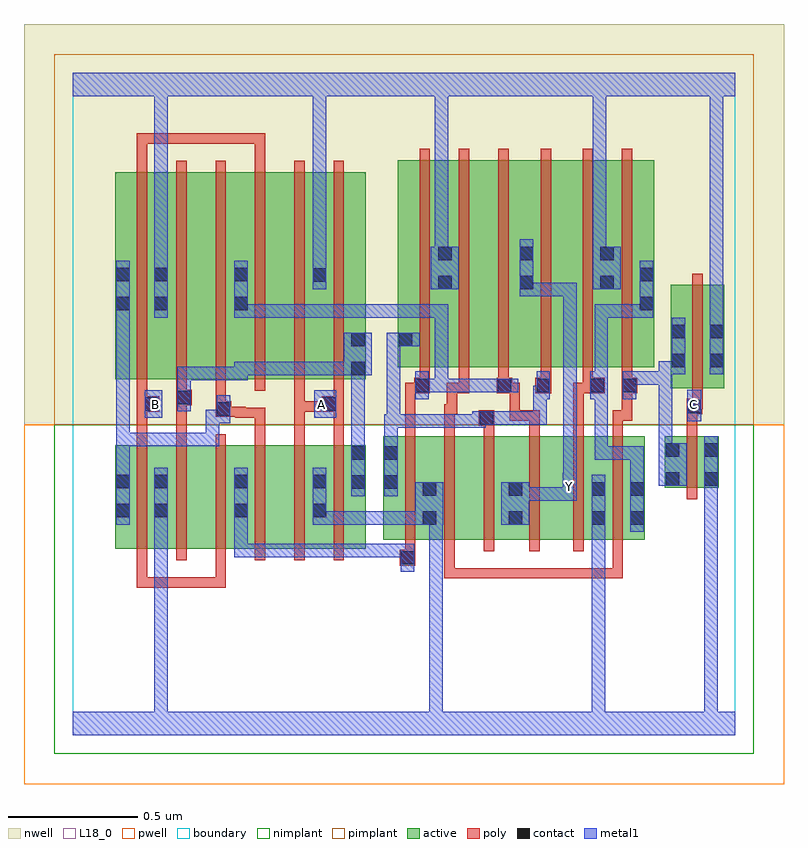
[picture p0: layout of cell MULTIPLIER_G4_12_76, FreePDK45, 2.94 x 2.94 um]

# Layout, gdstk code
import gdstk
lib = gdstk.Library(unit=1e-6, precision=1e-09)
def R(c, l, rs):  # rectangles x0, y0, x1, y1
    for r in rs: c.add(gdstk.rectangle(r[:2], r[2:], *l))
def A(c, l, x, y, w, h, nx, ny, dx, dy):  # array of equal rectangles
    R(c, l, [(x+i*dx, y+j*dy, x+i*dx+w, y+j*dy+h) for i in range(nx) for j in range(ny)])
active = (1, 0)
pwell = (2, 0)
nwell = (3, 0)
nimplant = (4, 0)
pimplant = (5, 0)
poly = (9, 0)
contact = (10, 0)
metal1 = (11, 0)
L18_0 = (18, 0)
boundary = (235, 0)

multiplier_g4_12_76 = lib.new_cell('MULTIPLIER_G4_12_76')
R(multiplier_g4_12_76, active, [(0.164,0.72,0.224,1.12), (0.164,0.72,0.372,1.12), (0.312,0.72,0.372,1.12), (0.312,0.72,0.496,1.12), (0.496,0.72,0.68,1.12), (0.62,0.72,0.8,1.12), (0.8,0.72,0.984,1.12), (0.924,0.72,0.984,1.12), (0.924,0.72,1.132,1.12), (1.072,0.72,1.132,1.12), (0.62,0.756,0.68,1.01), (1.2,0.756,1.26,1.156), (1.2,0.756,1.408,1.156), (1.348,0.756,1.532,1.156), (1.348,0.756,1.408,0.982), (1.532,0.756,1.74,1.156), (1.68,0.756,1.74,1.156), (1.68,0.756,1.86,1.156), (1.86,0.756,2.062,1.156), (2.002,0.756,2.062,1.156), (2.002,0.756,2.21,1.156), (2.15,0.756,2.21,1.156), (2.288,0.956,2.348,1.156), (2.288,0.956,2.496,1.156), (2.436,0.956,2.496,1.156), (2.31,1.34,2.37,1.74), (2.31,1.34,2.518,1.74), (2.458,1.34,2.518,1.644), (0.164,1.376,0.224,2.176), (0.164,1.376,0.372,2.176), (0.312,1.376,0.372,2.176), (0.312,1.376,0.496,2.176), (0.496,1.376,0.68,2.176), (0.62,1.376,0.8,2.176), (0.8,1.376,0.984,2.176), (0.924,1.376,1.132,2.176), (1.072,1.376,1.132,2.044), (1.256,1.422,1.316,2.044), (1.256,1.422,1.468,2.222), (1.408,1.422,1.468,2.222), (1.408,1.422,1.588,2.222), (1.588,1.422,1.784,2.222), (1.724,1.422,1.784,2.044), (1.724,1.422,1.914,2.222), (1.914,1.422,2.094,2.222), (2.034,1.422,2.246,2.222), (2.034,1.422,2.094,2.222), (2.186,1.422,2.246,2.044), (0.924,1.576,0.984,2.176), (0.62,1.58,0.68,2.176)])
R(multiplier_g4_12_76, pwell, [(-0.188,-0.188,2.748,1.2)])
R(multiplier_g4_12_76, nwell, [(-0.188,1.2,2.748,2.748)])
R(multiplier_g4_12_76, nimplant, [(-0.072,-0.072,2.632,1.2)])
R(multiplier_g4_12_76, pimplant, [(-0.072,1.2,2.632,2.632)])
A(multiplier_g4_12_76, poly, 0.248, 0.676, 0.04, 0.488, 6, 1, 0.152, 0)
A(multiplier_g4_12_76, poly, 1.284, 0.712, 0.04, 0.488, 3, 1, 0.152, 0)
A(multiplier_g4_12_76, poly, 0.248, 1.332, 0.04, 0.888, 6, 1, 0.152, 0)
A(multiplier_g4_12_76, poly, 1.34, 1.378, 0.04, 0.888, 3, 1, 0.152, 0)
R(multiplier_g4_12_76, poly, [(0.248,0.57,0.288,0.61), (0.248,0.57,0.288,0.61), (0.248,0.57,0.288,0.61), (0.248,0.57,0.288,0.716), (0.248,0.57,0.394,0.61), (0.354,0.57,0.394,0.61), (0.354,0.57,0.562,0.61), (0.522,0.57,0.562,0.61), (0.522,0.57,0.562,0.61), (0.522,0.57,0.592,0.61), (0.552,0.57,0.592,0.716), (1.436,0.606,1.476,0.646), (1.436,0.606,1.476,0.752), (1.436,0.606,1.592,0.646), (1.552,0.606,1.592,0.646), (1.552,0.606,1.698,0.646), (1.658,0.606,1.698,0.646), (1.658,0.606,1.698,0.646), (1.658,0.606,1.698,0.646), (1.658,0.606,1.834,0.646), (1.794,0.606,1.834,0.646), (1.794,0.606,1.834,0.646), (1.794,0.606,1.834,0.646), (1.794,0.606,2.02,0.646), (1.98,0.606,2.02,0.646), (1.98,0.606,2.126,0.646), (2.086,0.606,2.126,0.646), (2.086,0.606,2.126,0.646), (2.086,0.606,2.126,0.646), (2.086,0.606,2.126,0.752), (1.264,0.656,1.324,0.716), (1.284,0.676,1.324,0.752), (1.764,0.712,1.804,1.2), (1.934,0.712,1.974,1.2), (2.086,0.712,2.126,1.2), (2.372,0.912,2.412,1.2), (0.248,1.124,0.288,1.29), (0.4,1.124,0.44,1.316), (0.704,1.124,0.744,1.266), (0.856,1.124,0.896,1.29), (1.008,1.124,1.048,1.29), (1.284,1.16,1.324,1.362), (1.436,1.16,1.476,1.28), (1.588,1.16,1.628,1.236), (1.764,1.16,1.804,1.256), (1.934,1.16,1.974,1.362), (2.086,1.16,2.126,1.256), (2.372,1.16,2.412,1.28), (1.568,1.196,1.628,1.256), (1.688,1.216,1.728,1.256), (1.688,1.216,1.728,1.362), (1.688,1.216,1.804,1.256), (1.764,1.216,1.804,1.256), (2.086,1.216,2.162,1.256), (2.122,1.216,2.162,1.362), (0.628,1.226,0.744,1.266), (0.628,1.226,0.668,1.27), (0.704,1.226,0.744,1.266), (0.552,1.23,0.612,1.29), (0.572,1.23,0.668,1.27), (1.436,1.24,1.486,1.28), (1.446,1.24,1.486,1.362), (2.372,1.24,2.432,1.3), (0.248,1.25,0.288,1.29), (0.248,1.25,0.288,1.29), (0.248,1.25,0.334,1.31), (0.552,1.25,0.592,1.29), (0.552,1.25,0.592,1.29), (0.552,1.25,0.592,1.372), (0.856,1.25,0.896,1.29), (0.856,1.25,0.896,1.29), (0.856,1.25,0.896,1.29), (0.856,1.25,0.896,1.29), (0.856,1.25,0.896,1.29), (0.856,1.25,1.002,1.29), (0.856,1.25,0.896,1.372), (0.962,1.25,1.048,1.31), (2.392,1.26,2.432,1.3), (2.392,1.26,2.434,1.3), (2.394,1.26,2.434,1.336), (0.248,1.27,0.288,1.372), (1.008,1.27,1.048,1.31), (1.008,1.27,1.048,1.31), (1.008,1.27,1.048,1.372), (0.4,1.276,0.44,1.316), (0.4,1.276,0.44,1.316), (0.4,1.276,0.46,1.336), (0.4,1.296,0.44,1.372), (2.394,1.296,2.434,1.784), (1.284,1.322,1.36,1.362), (1.32,1.322,1.36,1.362), (1.32,1.322,1.38,1.382), (1.446,1.322,1.532,1.362), (1.492,1.322,1.532,1.418), (1.638,1.322,1.698,1.382), (1.658,1.322,1.728,1.362), (1.688,1.322,1.728,1.362), (1.788,1.322,1.848,1.382), (1.934,1.322,2.01,1.362), (1.97,1.322,2.01,1.362), (1.97,1.322,2.056,1.382), (2.122,1.322,2.182,1.382), (1.34,1.342,1.38,1.418), (1.644,1.342,1.684,1.418), (1.808,1.342,1.848,1.418), (1.97,1.342,2.01,1.418), (2.122,1.342,2.162,1.418), (1.808,1.378,1.848,2.266), (1.97,1.378,2.01,2.266), (2.122,1.378,2.162,2.266), (0.248,2.18,0.288,2.326), (0.704,2.18,0.744,2.326), (0.248,2.286,0.288,2.326), (0.248,2.286,0.288,2.326), (0.248,2.286,0.288,2.326), (0.248,2.286,0.452,2.326), (0.412,2.286,0.452,2.326), (0.412,2.286,0.452,2.326), (0.412,2.286,0.452,2.326), (0.412,2.286,0.558,2.326), (0.518,2.286,0.558,2.326), (0.518,2.286,0.744,2.326), (0.704,2.286,0.744,2.326), (0.704,2.286,0.744,2.326), (0.704,2.286,0.744,2.326)])
R(multiplier_g4_12_76, contact, [(1.268,0.66,1.32,0.712), (1.352,0.814,1.404,0.866), (1.684,0.814,1.736,0.866), (2.006,0.814,2.058,0.866), (2.154,0.814,2.206,0.866), (0.168,0.842,0.22,0.894), (0.316,0.842,0.368,0.894), (0.624,0.842,0.676,0.894), (0.928,0.842,0.98,0.894), (1.352,0.926,1.404,0.978), (1.684,0.926,1.736,0.978), (2.006,0.926,2.058,0.978), (2.154,0.926,2.206,0.978), (1.076,0.952,1.128,1.004), (1.204,0.952,1.256,1.004), (0.168,0.954,0.22,1.006), (0.316,0.954,0.368,1.006), (0.624,0.954,0.676,1.006), (0.928,0.954,0.98,1.006), (2.292,0.964,2.344,1.016), (2.44,0.964,2.492,1.016), (1.076,1.064,1.128,1.116), (1.204,1.064,1.256,1.116), (2.292,1.076,2.344,1.128), (2.44,1.076,2.492,1.128), (1.572,1.2,1.624,1.252), (0.556,1.234,0.608,1.286), (2.376,1.244,2.428,1.296), (0.278,1.254,0.33,1.306), (0.966,1.254,1.018,1.306), (0.404,1.28,0.456,1.332), (1.324,1.326,1.376,1.378), (1.642,1.326,1.694,1.378), (1.792,1.326,1.844,1.378), (2,1.326,2.052,1.378), (2.126,1.326,2.178,1.378), (1.076,1.392,1.128,1.444), (2.314,1.422,2.366,1.474), (2.462,1.422,2.514,1.474), (1.076,1.504,1.128,1.556), (1.26,1.504,1.312,1.556), (2.314,1.534,2.366,1.586), (2.462,1.534,2.514,1.586), (0.168,1.642,0.22,1.694), (0.316,1.642,0.368,1.694), (0.624,1.642,0.676,1.694), (2.19,1.642,2.242,1.694), (1.412,1.724,1.464,1.776), (1.728,1.724,1.78,1.776), (2.038,1.724,2.09,1.776), (0.928,1.752,0.98,1.804), (0.168,1.754,0.22,1.806), (0.316,1.754,0.368,1.806), (0.624,1.754,0.676,1.806), (2.19,1.754,2.242,1.806), (1.412,1.836,1.464,1.888), (1.728,1.836,1.78,1.888), (2.038,1.836,2.09,1.888)])
A(multiplier_g4_12_76, metal1, 0.928, 0.688, 0.052, 0.052, 3, 1, 0.11, 0)
R(multiplier_g4_12_76, metal1, [(0,0,2.56,0.092), (0.316,0.04,0.368,0.092), (0.316,0.04,0.368,0.092), (0.316,0.04,0.368,0.092), (0.316,0.04,0.368,0.092), (0.316,0.04,0.368,0.092), (0.316,0.04,0.368,0.092), (0.316,0.04,0.368,0.092), (0.316,0.04,0.368,0.092), (0.316,0.04,0.368,0.866), (1.378,0.04,1.43,0.092), (1.378,0.04,1.43,0.092), (1.378,0.04,1.43,0.092), (1.378,0.04,1.43,0.092), (1.378,0.04,1.43,0.092), (1.378,0.04,1.43,0.092), (1.378,0.04,1.43,0.092), (1.378,0.04,1.43,0.092), (1.378,0.04,1.43,0.866), (2.006,0.04,2.058,0.092), (2.006,0.04,2.058,0.092), (2.006,0.04,2.058,0.092), (2.006,0.04,2.058,0.092), (2.006,0.04,2.058,0.092), (2.006,0.04,2.058,0.092), (2.006,0.04,2.058,0.092), (2.006,0.04,2.058,0.092), (2.006,0.04,2.058,0.838), (2.44,0.04,2.492,0.092), (2.44,0.04,2.492,0.092), (2.44,0.04,2.492,0.092), (2.44,0.04,2.492,0.092), (2.44,0.04,2.492,0.092), (2.44,0.04,2.492,0.092), (2.44,0.04,2.492,0.988), (1.268,0.632,1.32,0.74), (0.624,0.688,0.676,0.74), (0.624,0.688,0.676,0.74), (0.624,0.688,0.676,0.74), (0.624,0.688,0.786,0.74), (0.624,0.688,0.676,0.866), (0.734,0.688,0.786,0.74), (0.734,0.688,0.786,0.74), (0.734,0.688,0.786,0.74), (0.734,0.688,0.98,0.74), (0.928,0.688,0.98,0.74), (0.928,0.688,0.98,0.74), (0.928,0.688,1.09,0.74), (1.038,0.688,1.2,0.74), (1.148,0.688,1.32,0.74), (2.006,0.786,2.058,0.838), (2.006,0.786,2.058,0.838), (2.006,0.786,2.058,0.838), (2.006,0.786,2.058,0.838), (2.006,0.786,2.058,1.006), (2.154,0.786,2.206,1.006), (0.168,0.814,0.22,1.034), (0.316,0.814,0.368,0.866), (0.316,0.814,0.368,0.866), (0.316,0.814,0.368,0.866), (0.316,0.814,0.368,0.866), (0.316,0.814,0.368,1.034), (0.624,0.814,0.676,1.034), (0.928,0.814,0.98,1.034), (0.928,0.814,1.09,0.866), (1.038,0.814,1.09,0.866), (1.038,0.814,1.09,0.866), (1.038,0.814,1.09,0.866), (1.038,0.814,1.266,0.866), (1.214,0.814,1.266,0.866), (1.214,0.814,1.266,0.866), (1.214,0.814,1.266,0.866), (1.214,0.814,1.376,0.866), (1.324,0.814,1.432,0.978), (1.378,0.814,1.43,0.866), (1.378,0.814,1.43,0.866), (1.378,0.814,1.43,0.866), (1.378,0.814,1.43,0.866), (1.656,0.814,1.764,0.978), (1.712,0.906,1.942,0.958), (1.89,0.906,1.942,0.958), (1.89,0.906,1.942,0.958), (1.89,0.906,1.946,0.958), (1.894,0.906,1.946,0.958), (1.894,0.906,1.948,1.014), (1.076,0.924,1.128,1.144), (1.204,0.924,1.256,1.144), (2.44,0.936,2.492,0.988), (2.44,0.936,2.492,0.988), (2.44,0.936,2.492,0.988), (2.44,0.936,2.492,0.988), (2.44,0.936,2.492,0.988), (2.44,0.936,2.492,0.988), (2.44,0.936,2.492,0.988), (2.44,0.936,2.492,0.988), (2.44,0.936,2.492,0.988), (2.44,0.936,2.492,0.988), (2.44,0.936,2.492,1.156), (2.154,0.954,2.206,1.116), (1.896,0.962,1.948,1.748), (2.264,0.964,2.372,1.128), (0.168,0.982,0.22,1.168), (2.016,1.064,2.068,1.116), (2.016,1.064,2.206,1.116), (2.016,1.064,2.068,1.406), (2.154,1.064,2.206,1.116), (2.154,1.064,2.206,1.116), (2.154,1.064,2.206,1.116), (2.264,1.076,2.316,1.128), (2.264,1.076,2.316,1.128), (2.264,1.076,2.316,1.446), (1.076,1.092,1.128,1.144), (1.076,1.092,1.128,1.144), (1.076,1.092,1.128,1.444), (1.204,1.092,1.256,1.24), (0.168,1.116,0.22,1.168), (0.168,1.116,0.22,1.168), (0.168,1.116,0.22,1.168), (0.168,1.116,0.346,1.168), (0.168,1.116,0.22,1.666), (0.294,1.116,0.346,1.168), (0.294,1.116,0.346,1.168), (0.294,1.116,0.346,1.168), (0.294,1.116,0.566,1.168), (0.514,1.116,0.566,1.258), (1.204,1.188,1.266,1.24), (1.214,1.188,1.266,1.24), (1.214,1.188,1.266,1.24), (1.214,1.188,1.266,1.24), (1.214,1.188,1.266,1.24), (1.214,1.188,1.486,1.24), (1.214,1.188,1.266,1.556), (1.434,1.188,1.486,1.24), (1.434,1.188,1.486,1.24), (1.434,1.188,1.486,1.24), (1.434,1.188,1.596,1.24), (1.544,1.188,1.596,1.252), (1.544,1.2,1.596,1.252), (1.544,1.2,1.652,1.252), (1.6,1.2,1.832,1.252), (1.78,1.2,1.832,1.252), (1.78,1.2,1.832,1.35), (0.514,1.206,0.608,1.258), (0.556,1.206,0.608,1.314), (2.374,1.214,2.428,1.336), (0.278,1.226,0.346,1.334), (0.934,1.226,1.018,1.334), (0.404,1.252,0.456,1.368), (1.324,1.298,1.376,1.406), (1.78,1.298,1.832,1.35), (1.78,1.298,1.844,1.35), (1.792,1.298,1.844,1.406), (2,1.298,2.052,1.406), (2.126,1.298,2.178,1.406), (0.404,1.316,0.456,1.368), (0.404,1.316,0.456,1.424), (1.324,1.326,1.45,1.378), (1.398,1.326,1.45,1.378), (1.398,1.326,1.486,1.378), (1.398,1.326,1.45,1.666), (1.434,1.326,1.486,1.378), (1.434,1.326,1.598,1.378), (1.546,1.326,1.598,1.378), (1.546,1.326,1.666,1.378), (1.614,1.326,1.722,1.378), (2,1.354,2.068,1.406), (2.016,1.354,2.068,1.406), (2.016,1.354,2.068,1.666), (2.126,1.354,2.316,1.406), (2.264,1.354,2.316,1.446), (0.404,1.372,0.566,1.424), (0.514,1.372,0.566,1.424), (0.514,1.372,0.676,1.424), (0.624,1.372,0.676,1.424), (0.624,1.372,0.676,1.424), (0.624,1.372,0.676,1.444), (0.624,1.392,0.818,1.444), (0.766,1.392,0.818,1.444), (0.766,1.392,0.818,1.444), (0.766,1.392,0.818,1.444), (0.766,1.392,0.98,1.444), (0.928,1.392,0.98,1.444), (0.928,1.392,0.98,1.444), (0.928,1.392,0.98,1.444), (0.928,1.392,1.128,1.444), (1.048,1.392,1.156,1.556), (1.076,1.392,1.128,1.444), (1.076,1.392,1.128,1.444), (2.264,1.394,2.316,1.446), (2.264,1.394,2.366,1.446), (2.314,1.394,2.366,1.446), (2.314,1.394,2.366,1.614), (2.462,1.394,2.514,1.614), (1.214,1.504,1.34,1.556), (2.462,1.562,2.514,2.52), (2.462,1.562,2.514,1.614), (2.462,1.562,2.514,1.614), (2.462,1.562,2.514,1.614), (2.462,1.562,2.514,1.614), (2.462,1.562,2.514,1.614), (2.462,1.562,2.514,1.614), (2.462,1.562,2.514,1.614), (2.462,1.562,2.514,1.614), (2.462,1.562,2.514,1.614), (2.462,1.562,2.514,1.614), (2.462,1.562,2.514,1.614), (2.462,1.562,2.514,1.614), (2.462,1.562,2.514,1.614), (2.462,1.562,2.514,1.614), (0.168,1.614,0.22,1.666), (0.168,1.614,0.22,1.666), (0.168,1.614,0.22,1.834), (0.316,1.614,0.368,1.834), (0.624,1.614,0.676,1.666), (0.624,1.614,0.676,1.666), (0.624,1.614,0.676,1.834), (0.624,1.614,0.786,1.666), (0.734,1.614,0.786,1.666), (0.734,1.614,0.786,1.666), (0.734,1.614,0.786,1.666), (0.734,1.614,0.98,1.666), (0.928,1.614,0.98,1.666), (0.928,1.614,0.98,1.666), (0.928,1.614,0.98,1.666), (0.928,1.614,0.98,1.666), (0.928,1.614,0.98,1.666), (0.928,1.614,1.09,1.666), (1.038,1.614,1.09,1.666), (1.038,1.614,1.266,1.666), (1.214,1.614,1.266,1.666), (1.214,1.614,1.266,1.666), (1.214,1.614,1.266,1.666), (1.214,1.614,1.45,1.666), (1.398,1.614,1.45,1.666), (1.398,1.614,1.45,1.666), (1.398,1.614,1.45,1.666), (2.016,1.614,2.068,1.666), (2.016,1.614,2.206,1.666), (2.154,1.614,2.206,1.666), (2.154,1.614,2.242,1.666), (2.19,1.614,2.242,1.834), (1.728,1.696,1.78,1.916), (1.728,1.696,1.832,1.748), (1.78,1.696,1.832,1.748), (1.78,1.696,1.948,1.748), (1.896,1.696,1.948,1.748), (1.896,1.696,1.948,1.748), (1.896,1.696,1.948,1.748), (0.928,1.724,0.98,1.832), (1.384,1.724,1.492,1.888), (2.01,1.724,2.118,1.888), (0.928,1.78,0.98,2.52), (0.316,1.782,0.368,1.834), (0.316,1.782,0.368,1.834), (0.316,1.782,0.368,1.834), (0.316,1.782,0.368,1.834), (0.316,1.782,0.368,2.52), (1.398,1.836,1.45,2.52), (2.01,1.836,2.062,2.52), (0,2.468,2.56,2.56), (0.316,2.468,0.368,2.52), (0.316,2.468,0.368,2.52), (0.316,2.468,0.368,2.52), (0.316,2.468,0.368,2.52), (0.928,2.468,0.98,2.52), (0.928,2.468,0.98,2.52), (0.928,2.468,0.98,2.52), (0.928,2.468,0.98,2.52), (0.928,2.468,0.98,2.52), (0.928,2.468,0.98,2.52), (0.928,2.468,0.98,2.52), (0.928,2.468,0.98,2.52), (1.398,2.468,1.45,2.52), (1.398,2.468,1.45,2.52), (1.398,2.468,1.45,2.52), (1.398,2.468,1.45,2.52), (1.398,2.468,1.45,2.52), (1.398,2.468,1.45,2.52), (1.398,2.468,1.45,2.52), (1.398,2.468,1.45,2.52), (2.01,2.468,2.062,2.52), (2.01,2.468,2.062,2.52), (2.01,2.468,2.062,2.52), (2.01,2.468,2.062,2.52), (2.01,2.468,2.062,2.52), (2.01,2.468,2.062,2.52), (2.01,2.468,2.062,2.52), (2.01,2.468,2.062,2.52), (2.462,2.468,2.514,2.52), (2.462,2.468,2.514,2.52)])
R(multiplier_g4_12_76, L18_0, [(0,0,2.56,0.092), (0.316,0.04,0.368,0.092), (0.316,0.04,0.368,0.092), (0.316,0.04,0.368,0.092), (0.316,0.04,0.368,0.092), (0.316,0.04,0.368,0.092), (0.316,0.04,0.368,0.092), (0.316,0.04,0.368,0.092), (0.316,0.04,0.368,0.092), (0.316,0.04,0.368,0.866), (1.378,0.04,1.43,0.092), (1.378,0.04,1.43,0.092), (1.378,0.04,1.43,0.092), (1.378,0.04,1.43,0.092), (1.378,0.04,1.43,0.092), (1.378,0.04,1.43,0.092), (1.378,0.04,1.43,0.092), (1.378,0.04,1.43,0.092), (1.378,0.04,1.43,0.866), (2.006,0.04,2.058,0.092), (2.006,0.04,2.058,0.092), (2.006,0.04,2.058,0.092), (2.006,0.04,2.058,0.092), (2.006,0.04,2.058,0.092), (2.006,0.04,2.058,0.092), (2.006,0.04,2.058,0.092), (2.006,0.04,2.058,0.092), (2.006,0.04,2.058,0.838), (2.44,0.04,2.492,0.092), (2.44,0.04,2.492,0.092), (2.44,0.04,2.492,0.092), (2.44,0.04,2.492,0.092), (2.44,0.04,2.492,0.092), (2.44,0.04,2.492,0.092), (2.44,0.04,2.492,0.988), (2.006,0.786,2.058,0.838), (2.006,0.786,2.058,0.838), (2.006,0.786,2.058,0.838), (2.006,0.786,2.058,0.838), (2.006,0.786,2.058,1.006), (0.316,0.814,0.368,0.866), (0.316,0.814,0.368,0.866), (0.316,0.814,0.368,0.866), (0.316,0.814,0.368,0.866), (0.316,0.814,0.368,1.034), (0.928,0.814,0.98,1.034), (0.928,0.814,1.09,0.866), (1.038,0.814,1.09,0.866), (1.038,0.814,1.09,0.866), (1.038,0.814,1.09,0.866), (1.038,0.814,1.266,0.866), (1.214,0.814,1.266,0.866), (1.214,0.814,1.266,0.866), (1.214,0.814,1.266,0.866), (1.214,0.814,1.376,0.866), (1.324,0.814,1.432,0.978), (1.378,0.814,1.43,0.866), (1.378,0.814,1.43,0.866), (1.378,0.814,1.43,0.866), (1.378,0.814,1.43,0.866), (1.656,0.814,1.764,0.978), (1.712,0.906,1.942,0.958), (1.89,0.906,1.942,0.958), (1.89,0.906,1.942,0.958), (1.89,0.906,1.946,0.958), (1.894,0.906,1.946,0.958), (1.894,0.906,1.948,1.014), (1.894,0.934,1.946,0.986), (2.44,0.936,2.492,0.988), (2.44,0.936,2.492,0.988), (2.44,0.936,2.492,0.988), (2.44,0.936,2.492,0.988), (2.44,0.936,2.492,0.988), (2.44,0.936,2.492,0.988), (2.44,0.936,2.492,0.988), (2.44,0.936,2.492,0.988), (2.44,0.936,2.492,0.988), (2.44,0.936,2.492,0.988), (2.44,0.936,2.492,1.156), (1.896,0.962,1.948,1.748), (2.374,1.214,2.428,1.336), (0.278,1.226,0.346,1.334), (0.934,1.226,1.018,1.334), (0.294,1.254,0.346,1.306), (0.934,1.254,0.986,1.306), (2.374,1.254,2.426,1.306), (2.462,1.394,2.514,1.614), (2.462,1.562,2.514,1.614), (2.462,1.562,2.514,1.614), (2.462,1.562,2.514,1.614), (2.462,1.562,2.514,1.614), (2.462,1.562,2.514,1.614), (2.462,1.562,2.514,1.614), (2.462,1.562,2.514,1.614), (2.462,1.562,2.514,1.614), (2.462,1.562,2.514,1.614), (2.462,1.562,2.514,1.614), (2.462,1.562,2.514,1.614), (2.462,1.562,2.514,1.614), (2.462,1.562,2.514,1.614), (2.462,1.562,2.514,1.614), (2.462,1.562,2.514,2.52), (0.316,1.614,0.368,1.834), (1.728,1.696,1.78,1.916), (1.728,1.696,1.832,1.748), (1.78,1.696,1.832,1.748), (1.78,1.696,1.948,1.748), (1.896,1.696,1.948,1.748), (1.896,1.696,1.948,1.748), (1.896,1.696,1.948,1.748), (0.928,1.724,0.98,1.832), (1.384,1.724,1.492,1.888), (2.01,1.724,2.118,1.888), (0.928,1.78,0.98,2.52), (0.316,1.782,0.368,1.834), (0.316,1.782,0.368,1.834), (0.316,1.782,0.368,1.834), (0.316,1.782,0.368,1.834), (0.316,1.782,0.368,2.52), (1.398,1.836,1.45,2.52), (2.01,1.836,2.062,2.52), (0,2.468,2.56,2.56), (0.316,2.468,0.368,2.52), (0.316,2.468,0.368,2.52), (0.316,2.468,0.368,2.52), (0.316,2.468,0.368,2.52), (0.928,2.468,0.98,2.52), (0.928,2.468,0.98,2.52), (0.928,2.468,0.98,2.52), (0.928,2.468,0.98,2.52), (0.928,2.468,0.98,2.52), (0.928,2.468,0.98,2.52), (0.928,2.468,0.98,2.52), (0.928,2.468,0.98,2.52), (1.398,2.468,1.45,2.52), (1.398,2.468,1.45,2.52), (1.398,2.468,1.45,2.52), (1.398,2.468,1.45,2.52), (1.398,2.468,1.45,2.52), (1.398,2.468,1.45,2.52), (1.398,2.468,1.45,2.52), (1.398,2.468,1.45,2.52), (2.01,2.468,2.062,2.52), (2.01,2.468,2.062,2.52), (2.01,2.468,2.062,2.52), (2.01,2.468,2.062,2.52), (2.01,2.468,2.062,2.52), (2.01,2.468,2.062,2.52), (2.01,2.468,2.062,2.52), (2.01,2.468,2.062,2.52), (2.462,2.468,2.514,2.52), (2.462,2.468,2.514,2.52)])
R(multiplier_g4_12_76, boundary, [(0,0,2.56,2.56)])
multiplier_g4_12_76.add(gdstk.Label('A', (0.96,1.28), layer=11, texttype=0))
multiplier_g4_12_76.add(gdstk.Label('B', (0.32,1.28), layer=11, texttype=0))
multiplier_g4_12_76.add(gdstk.Label('C', (2.4,1.28), layer=11, texttype=0))
multiplier_g4_12_76.add(gdstk.Label('Y', (1.92,0.96), layer=11, texttype=0))

lib.write_gds('MULTIPLIER_G4_12_76.gds')
